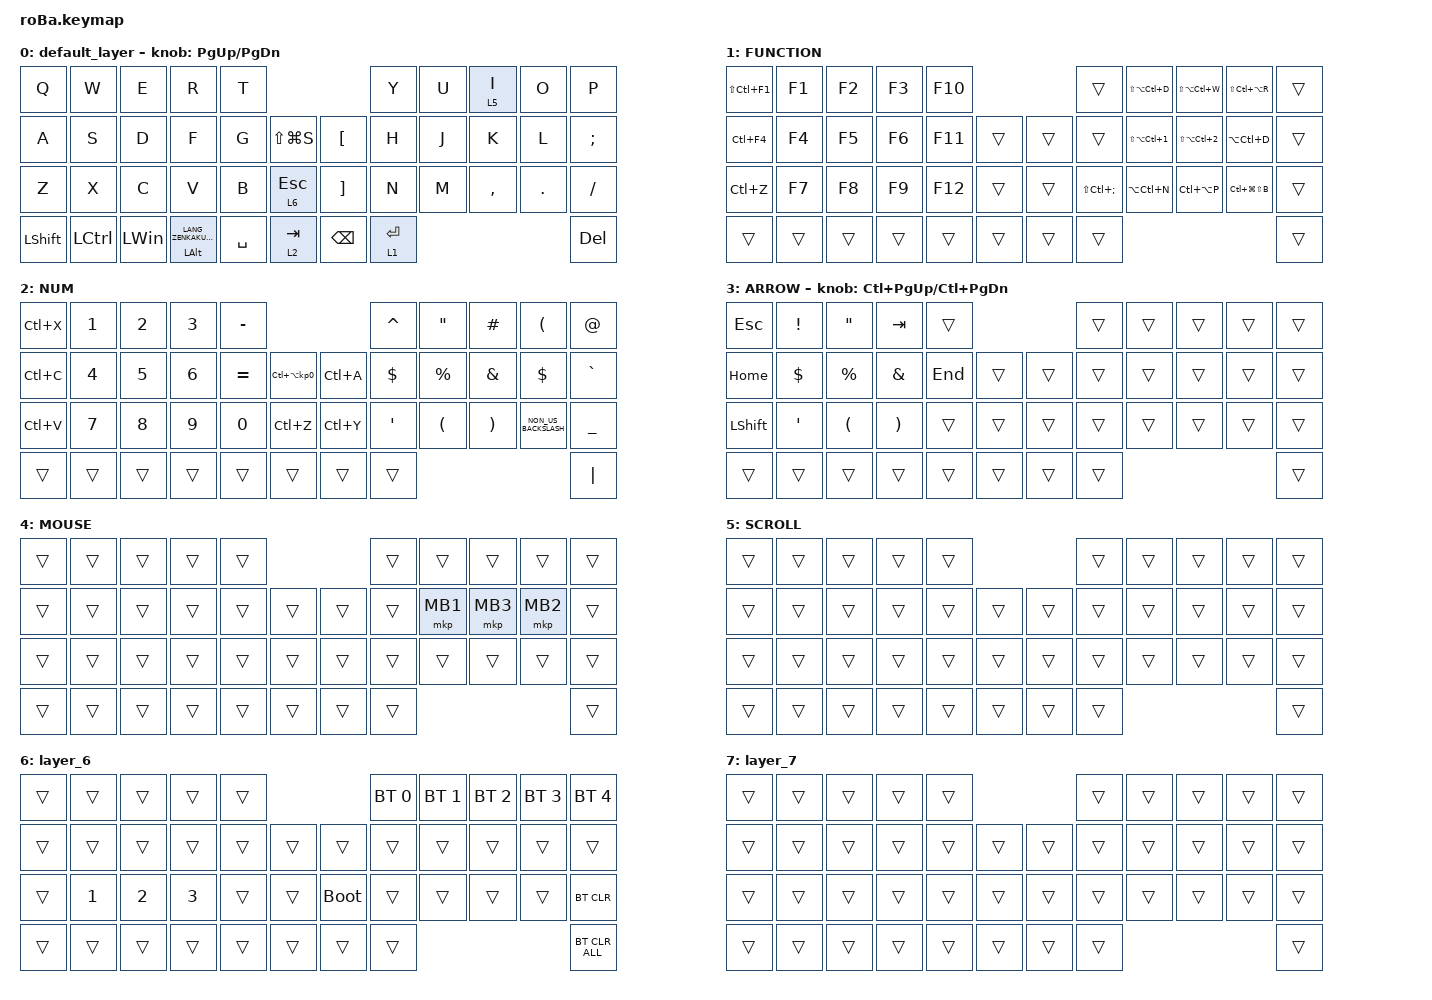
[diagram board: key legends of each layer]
#include <behaviors.dtsi>
#include <dt-bindings/zmk/bt.h>
#include <dt-bindings/zmk/keys.h>
#include <dt-bindings/zmk/pointing.h>

&mt {
    flavor = "balanced";
    quick-tap-ms = <0>;
};

&trackball {
    automouse-layer = <4>;
    scroll-layers = <5>;

    // arrows {
    //     layers = <3>;
    //     bindings =
    //         <&kp RIGHT_ARROW>,
    //         <&kp LEFT_ARROW>,
    //         <&kp UP_ARROW>,
    //         <&kp DOWN_ARROW>;
    //     tick = <10>;
    //     wait-ms = <5>;
    //     tap-ms = <5>;
    // };
};

/ {
    combos {
        compatible = "zmk,combos";

        muhennkann {
            bindings = <&to_layer_0 INT_MUHENKAN>;
            key-positions = <11 10>;
        };

        scroll {
            bindings = <&mo 5>;
            key-positions = <30 31>;
        };

        lclick {
            bindings = <&mkp LCLK>;
            key-positions = <18 19>;
        };

        rclick {
            bindings = <&mkp RCLK>;
            key-positions = <19 18>;
        };

        sctab {
            bindings = <&kp LC(LS(TAB))>;
            key-positions = <5 6>;
        };

        ctab {
            bindings = <&kp LC(TAB)>;
            key-positions = <6 7>;
        };

        witab {
            bindings = <&kp LG(TAB)>;
            key-positions = <28 29>;
        };

        wind {
            bindings = <&kp D>;
            key-positions = <16 17>;
        };

        ndesktop {
            bindings = <&kp LC(LG(RIGHT_ARROW))>;
            key-positions = <32 33>;
        };

        bdesktop {
            bindings = <&kp LC(LG(LEFT_ARROW))>;
            key-positions = <32 31>;
        };
    };

    macros {
        to_layer_0: to_layer_0 {
            compatible = "zmk,behavior-macro-one-param";
            #binding-cells = <1>;
            bindings = <&to 0 &macro_param_1to1 &kp MACRO_PLACEHOLDER>;
            label = "TO_LAYER_0";
        };
    };

    behaviors {
        lt_to_layer_0: lt_to_layer_0 {
            compatible = "zmk,behavior-hold-tap";
            label = "LAYER_TAP_TO_0";
            bindings = <&mo>, <&to_layer_0>;

            #binding-cells = <2>;
            tapping-term-ms = <200>;
        };
    };

    keymap {
        compatible = "zmk,keymap";

        default_layer {
            bindings = <
&kp Q           &kp W             &kp E         &kp R                             &kp T                                                   &kp Y        &kp U  &lt 5 I    &kp O    &kp P
&kp A           &kp S             &kp D         &kp F                             &kp G      &kp LS(LG(S))             &kp LEFT_BRACKET   &kp H        &kp J  &kp K      &kp L    &kp SEMI
&kp Z           &kp X             &kp C         &kp V                             &kp B      &lt_to_layer_0 6 ESC      &kp RIGHT_BRACKET  &kp N        &kp M  &kp COMMA  &kp DOT  &kp SLASH
&kp LEFT_SHIFT  &kp LEFT_CONTROL  &kp LEFT_WIN  &mt LEFT_ALT LANG_ZENKAKUHANKAKU  &kp SPACE  &lt_to_layer_0 2 TAB      &kp BACKSPACE      &lt 1 ENTER                             &kp DEL
            >;

            sensor-bindings = <&inc_dec_kp PG_UP PAGE_DOWN>;
        };

        FUNCTION {
            bindings = <
&kp LS(LC(F1))  &kp F1  &kp F2  &kp F3  &kp F10                      &trans                 &kp LS(LA(LC(D)))         &kp LS(LA(LC(W)))         &kp LS(LC(LA(R)))  &trans
&kp LC(F4)      &kp F4  &kp F5  &kp F6  &kp F11  &trans      &trans  &trans                 &kp LS(LA(LC(NUMBER_1)))  &kp LS(LA(LC(NUMBER_2)))  &kp LA(LC(D))      &trans
&kp LC(Z)       &kp F7  &kp F8  &kp F9  &kp F12  &trans      &trans  &kp LS(LC(SEMICOLON))  &kp LA(LC(N))             &kp LC(LA(P))             &kp LC(LG(LS(B)))  &trans
&trans          &trans  &trans  &trans  &trans   &trans      &trans  &trans                                                                                        &trans
            >;
        };

        NUM {
            bindings = <
&kp LC(X)  &kp NUMBER_1  &kp NUMBER_2  &kp NUMBER_3  &kp MINUS                                             &kp CARET         &kp DOUBLE_QUOTES     &kp HASH               &kp LEFT_PARENTHESIS  &kp AT_SIGN
&kp LC(C)  &kp NUMBER_4  &kp NUMBER_5  &kp NUMBER_6  &kp EQUAL     &kp LC(LA(KP_NUMBER_0))      &kp LC(A)  &kp DOLLAR        &kp PERCENT           &kp AMPERSAND          &kp DOLLAR            &kp GRAVE
&kp LC(V)  &kp NUMBER_7  &kp N8        &kp NUMBER_9  &kp NUMBER_0  &kp LC(Z)                    &kp LC(Y)  &kp SINGLE_QUOTE  &kp LEFT_PARENTHESIS  &kp RIGHT_PARENTHESIS  &kp NON_US_BACKSLASH  &kp UNDERSCORE
&trans     &trans        &trans        &trans        &trans        &trans                       &trans     &trans                                                                               &kp PIPE
            >;
        };

        ARROW {
            bindings = <
&kp ESCAPE      &kp EXCLAMATION  &kp DOUBLE_QUOTES     &kp TAB                &trans                       &trans  &trans  &trans  &trans  &trans
&kp HOME        &kp DOLLAR       &kp PERCENT           &kp AMPERSAND          &kp END  &trans      &trans  &trans  &trans  &trans  &trans  &trans
&kp LEFT_SHIFT  &kp SQT          &kp LEFT_PARENTHESIS  &kp RIGHT_PARENTHESIS  &trans   &trans      &trans  &trans  &trans  &trans  &trans  &trans
&trans          &trans           &trans                &trans                 &trans   &trans      &trans  &trans                          &trans
            >;

            sensor-bindings = <&inc_dec_kp LC(PAGE_UP) LC(PAGE_DOWN)>;
        };

        MOUSE {
            bindings = <
&trans  &trans  &trans  &trans  &trans                      &trans  &trans    &trans    &trans    &trans
&trans  &trans  &trans  &trans  &trans  &trans      &trans  &trans  &mkp MB1  &mkp MB3  &mkp MB2  &trans
&trans  &trans  &trans  &trans  &trans  &trans      &trans  &trans  &trans    &trans    &trans    &trans
&trans  &trans  &trans  &trans  &trans  &trans      &trans  &trans                                &trans
            >;
        };

        SCROLL {
            bindings = <
&trans  &trans  &trans  &trans  &trans                      &trans  &trans  &trans  &trans  &trans
&trans  &trans  &trans  &trans  &trans  &trans      &trans  &trans  &trans  &trans  &trans  &trans
&trans  &trans  &trans  &trans  &trans  &trans      &trans  &trans  &trans  &trans  &trans  &trans
&trans  &trans  &trans  &trans  &trans  &trans      &trans  &trans                          &trans
            >;
        };

        layer_6 {
            bindings = <
&trans  &trans        &trans        &trans        &trans                           &bt BT_SEL 0  &bt BT_SEL 1  &bt BT_SEL 2  &bt BT_SEL 3  &bt BT_SEL 4
&trans  &trans        &trans        &trans        &trans  &trans      &trans       &trans        &trans        &trans        &trans        &trans
&trans  &kp NUMBER_1  &kp NUMBER_2  &kp NUMBER_3  &trans  &trans      &bootloader  &trans        &trans        &trans        &trans        &bt BT_CLR
&trans  &trans        &trans        &trans        &trans  &trans      &trans       &trans                                                  &bt BT_CLR_ALL
            >;
        };

        layer_7 {
            bindings = <
&trans  &trans  &trans  &trans  &trans                      &trans  &trans  &trans  &trans  &trans
&trans  &trans  &trans  &trans  &trans  &trans      &trans  &trans  &trans  &trans  &trans  &trans
&trans  &trans  &trans  &trans  &trans  &trans      &trans  &trans  &trans  &trans  &trans  &trans
&trans  &trans  &trans  &trans  &trans  &trans      &trans  &trans                          &trans
            >;
        };
    };
};
